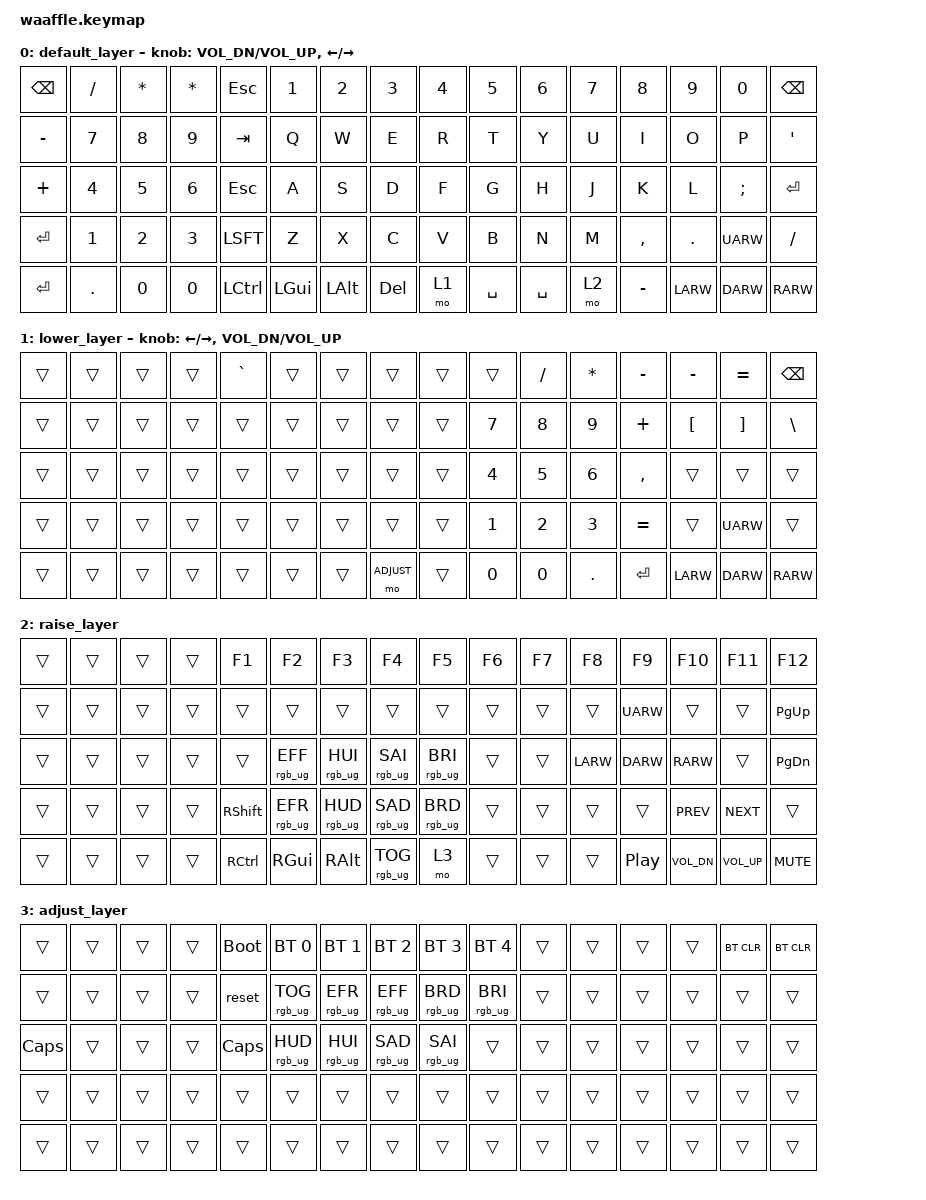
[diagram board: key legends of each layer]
/*
 * Copyright (c) 2020 dELLIKEEb
 *
 * SPDX-License-Identifier: MIT
 */

#include <behaviors.dtsi>
#include <dt-bindings/zmk/keys.h>
#include <dt-bindings/zmk/bt.h>
#include <dt-bindings/zmk/rgb.h>

// custom keycode defs for easier access
#define DEFAULT 0
#define LOWER   1
#define RAISE   2
#define ADJUST  3
#define BT0  BT_SEL 0
#define BT1  BT_SEL 1
#define BT2  BT_SEL 2
#define BT3  BT_SEL 3
#define BT4  BT_SEL 4
// / {
//     behaviors {
//         hm: homerow_mods {
//             compatible = "zmk,behavior-hold-tap";
//             label = "homerow mods";
//             #binding-cells = <2>;
//             tapping_term_ms = <225>;
//             flavor = "tap-preferred";
//             bindings = <&kp>, <&kp>;
//         };
//     };
// };

/ {
    keymap {
        compatible = "zmk,keymap";

        default_layer {
            bindings = <
                &kp BKSP    &kp SLASH   &kp STAR    &kp STAR    &kp ESC    &kp N1      &kp N2      &kp N3      &kp N4    &kp N5      &kp N6      &kp N7      &kp N8      &kp N9      &kp N0      &kp BKSP
                &kp MINUS   &kp NUM_7   &kp NUM_8   &kp NUM_9   &kp TAB    &kp Q       &kp W       &kp E       &kp R     &kp T       &kp Y       &kp U       &kp I       &kp O       &kp P       &kp APOS
                &kp PLUS    &kp NUM_4   &kp NUM_5   &kp NUM_6   &kp ESC    &kp A       &kp S       &kp D       &kp F     &kp G       &kp H       &kp J       &kp K       &kp L       &kp SCLN    &kp RET
                &kp RET     &kp NUM_1   &kp NUM_2   &kp NUM_3   &kp LSFT   &kp Z       &kp X       &kp C       &kp V     &kp B       &kp N       &kp M       &kp CMMA    &kp DOT     &kp UARW    &kp FSLH
                &kp RET     &kp DOT     &kp NUM_0   &kp NUM_0   &kp LCTL   &kp LGUI    &kp LALT    &kp DEL     &mo 1     &kp SPC     &kp SPC     &mo 2       &kp MINUS   &kp LARW    &kp DARW    &kp RARW 
            >;
            sensor-bindings = <&inc_dec_kp C_VOL_DN C_VOL_UP &inc_dec_kp LEFT RIGHT>;
        }; 

       lower_layer {
            bindings = <
                &trans      &trans      &trans      &trans      &kp GRAV    &trans      &trans      &trans      &trans      &trans      &kp SLASH   &kp STAR     &kp MINUS   &kp MINUS   &kp EQUAL   &kp BKSP 
                &trans      &trans      &trans      &trans      &trans      &trans      &trans      &trans      &trans      &kp NUM_7   &kp NUM_8   &kp NUM_9    &kp PLUS    &kp LBKT    &kp RBKT    &kp BSLH
                &trans      &trans      &trans      &trans      &trans      &trans      &trans      &trans      &trans      &kp NUM_4   &kp NUM_5   &kp NUM_6    &kp COMMA   &trans      &trans      &trans
                &trans      &trans      &trans      &trans      &trans      &trans      &trans      &trans      &trans      &kp NUM_1   &kp NUM_2   &kp NUM_3    &kp EQUAL   &trans      &kp UARW    &trans
                &trans      &trans      &trans      &trans      &trans      &trans      &trans      &mo ADJUST  &trans      &kp NUM_0   &kp NUM_0   &kp DOT      &kp RET     &kp LARW    &kp DARW    &kp RARW
            >;
            sensor-bindings = <&inc_dec_kp LEFT RIGHT &inc_dec_kp C_VOL_DN C_VOL_UP>;
        };

        raise_layer {
            bindings = <
                &trans      &trans      &trans      &trans      &kp F1      &kp F2          &kp F3          &kp F4          &kp F5          &kp F6      &kp F7      &kp F8      &kp F9      &kp F10      &kp F11      &kp F12  
                &trans      &trans      &trans      &trans      &trans      &trans          &trans          &trans          &trans          &trans      &trans      &trans      &kp UARW    &trans       &trans       &kp PG_UP
                &trans      &trans      &trans      &trans      &trans      &rgb_ug RGB_EFF &rgb_ug RGB_HUI &rgb_ug RGB_SAI &rgb_ug RGB_BRI &trans      &trans      &kp LARW    &kp DARW    &kp RARW     &trans       &kp PG_DN
                &trans      &trans      &trans      &trans      &kp RSHFT   &rgb_ug RGB_EFR &rgb_ug RGB_HUD &rgb_ug RGB_SAD &rgb_ug RGB_BRD &trans      &trans      &trans      &trans      &kp C_PREV   &kp C_NEXT   &trans  
                &trans      &trans      &trans      &trans      &kp RCTL    &kp RGUI        &kp RALT        &rgb_ug RGB_TOG &mo 3           &trans      &trans      &trans      &kp C_PP    &kp C_VOL_DN &kp C_VOL_UP &kp C_MUTE
            >;
        };
        
        adjust_layer {
            bindings = <
                &trans      &trans      &trans      &trans      &bootloader &bt BT_SEL 0     &bt BT_SEL 1    &bt BT_SEL 2     &bt BT_SEL 3      &bt BT_SEL 4    &trans      &trans      &trans      &trans      &bt BT_CLR  &bt BT_CLR
                &trans      &trans      &trans      &trans      &reset      &rgb_ug RGB_TOG  &rgb_ug RGB_EFR &rgb_ug RGB_EFF  &rgb_ug RGB_BRD   &rgb_ug RGB_BRI &trans      &trans      &trans      &trans      &trans      &trans
                &kp CAPS    &trans      &trans      &trans      &kp CAPS    &rgb_ug RGB_HUD  &rgb_ug RGB_HUI &rgb_ug RGB_SAD  &rgb_ug RGB_SAI   &trans          &trans      &trans      &trans      &trans      &trans      &trans
                &trans      &trans      &trans      &trans      &trans      &trans           &trans          &trans           &trans            &trans          &trans      &trans      &trans      &trans      &trans      &trans
                &trans      &trans      &trans      &trans      &trans      &trans           &trans          &trans           &trans            &trans          &trans      &trans      &trans      &trans      &trans      &trans
            >;
        };

    };
};
